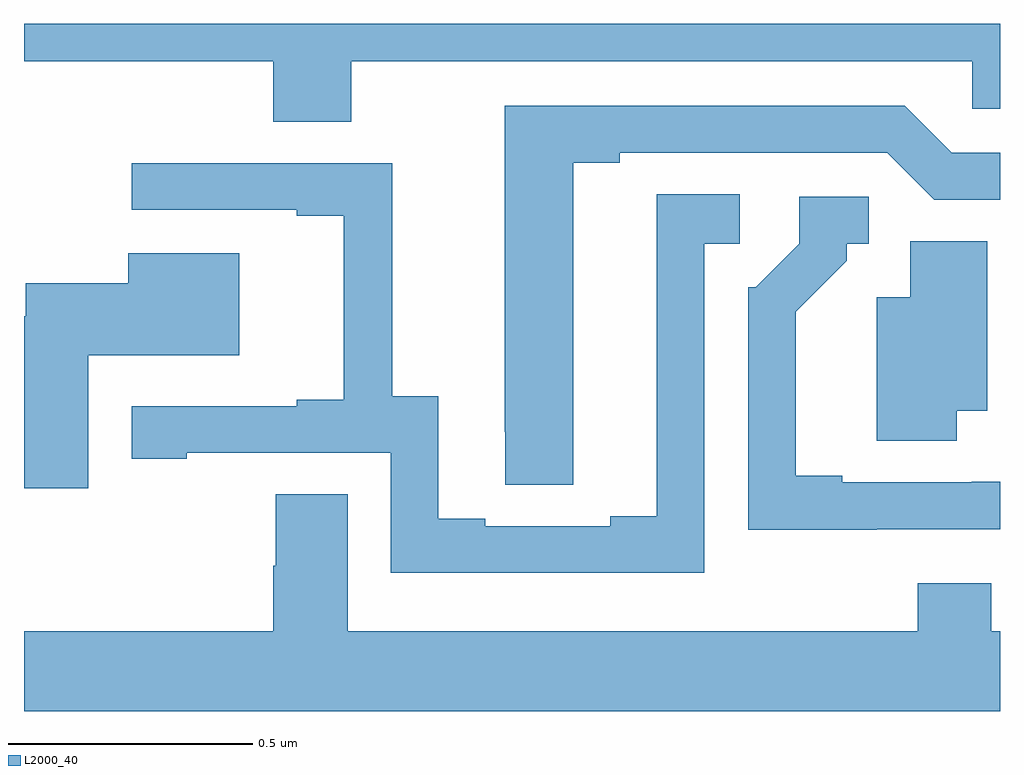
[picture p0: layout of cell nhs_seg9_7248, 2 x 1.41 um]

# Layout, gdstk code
import gdstk
lib = gdstk.Library(unit=1e-6, precision=1e-09)
def P(c, l, *ps):  # polygons
    for p in ps: c.add(gdstk.Polygon(p, *l))
L2000_40 = (2000, 40)

nhs_seg9_7248 = lib.new_cell('nhs_seg9_7248')
P(nhs_seg9_7248, L2000_40, [(202.671,1192.424),(203.943,1192.424),(203.943,1192.326),(204,1192.326),(204,1192.5),(202,1192.5),(202,1192.424),(202.511,1192.424),(202.511,1192.3),(202.671,1192.3)],
  [(203.125,1192.216),(203.221,1192.216),(203.221,1192.236),(203.769,1192.236),(203.865,1192.14),(204,1192.14),(204,1192.236),(203.901,1192.236),(203.805,1192.332),(202.985,1192.332),(202.985,1191.664),(202.986,1191.664),(202.986,1191.556),(203.125,1191.556)],
  [(203.394,1192.05),(203.467,1192.05),(203.467,1192.151),(203.297,1192.151),(203.297,1191.491),(203.201,1191.491),(203.201,1191.471),(202.945,1191.471),(202.945,1191.486),(202.849,1191.486),(202.849,1191.737),(202.755,1191.737),(202.755,1192.215),(202.221,1192.215),(202.221,1192.119),(202.559,1192.119),(202.559,1192.107),(202.655,1192.107),(202.655,1191.73),(202.559,1191.73),(202.559,1191.717),(202.221,1191.717),(202.221,1191.609),(202.333,1191.609),(202.333,1191.621),(202.752,1191.621),(202.752,1191.375),(203.394,1191.375)],
  [(203.747,1191.465),(204,1191.465),(204,1191.562),(203.942,1191.562),(203.942,1191.561),(203.677,1191.561),(203.677,1191.574),(203.581,1191.574),(203.581,1191.91),(203.686,1192.015),(203.686,1192.05),(203.731,1192.05),(203.731,1192.146),(203.589,1192.146),(203.589,1192.05),(203.499,1191.96),(203.484,1191.96),(203.484,1191.464),(203.747,1191.464)],
  [(203.911,1191.707),(203.974,1191.707),(203.974,1192.055),(203.816,1192.055),(203.816,1191.94),(203.747,1191.94),(203.747,1191.646),(203.911,1191.646)],
  [(202.132,1191.821),(202.441,1191.821),(202.441,1192.03),(202.214,1192.03),(202.214,1191.969),(202.004,1191.969),(202.004,1191.901),(202,1191.901),(202,1191.549),(202.132,1191.549)],
  [(204,1191.256),(203.982,1191.256),(203.982,1191.354),(203.831,1191.354),(203.831,1191.256),(202.663,1191.256),(202.663,1191.536),(202.516,1191.536),(202.516,1191.39),(202.511,1191.39),(202.511,1191.256),(202,1191.256),(202,1191.092),(204,1191.092)])

lib.write_gds('nhs_seg9_7248.gds')
